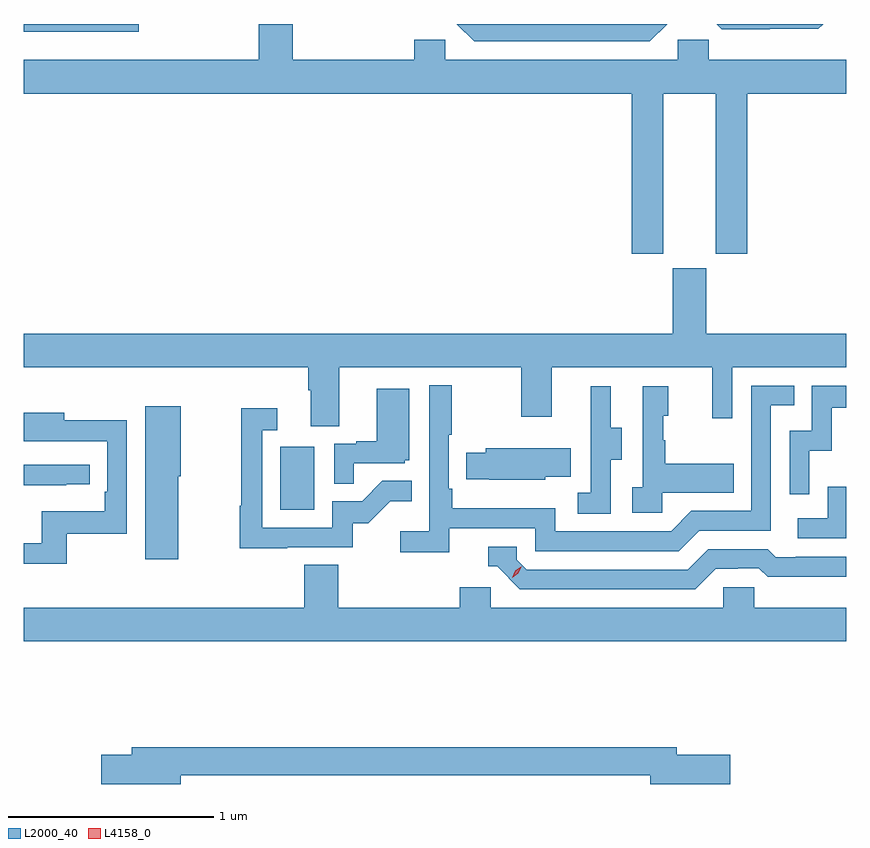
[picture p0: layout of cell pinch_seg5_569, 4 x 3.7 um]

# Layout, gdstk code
import gdstk
lib = gdstk.Library(unit=1e-6, precision=1e-09)
def R(c, l, rs):  # rectangles x0, y0, x1, y1
    for r in rs: c.add(gdstk.rectangle(r[:2], r[2:], *l))
def P(c, l, *ps):  # polygons
    for p in ps: c.add(gdstk.Polygon(p, *l))
L2000_40 = (2000, 40)
L4158_0 = (4158, 0)

pinch_seg5_569 = lib.new_cell('pinch_seg5_569')
R(pinch_seg5_569, L2000_40, [(1085.288,866.724,1085.452,867.031), (1084.04,869.048,1084.6,869.086)])
P(pinch_seg5_569, L2000_40, [(1087.668,869.063),(1087.904,869.063),(1087.927,869.086),(1087.41,869.086),(1087.435,869.061),(1087.668,869.061)],
  [(1087.15,868.748),(1087.406,868.748),(1087.406,867.969),(1087.559,867.969),(1087.559,868.748),(1088.04,868.748),(1088.04,868.912),(1087.371,868.912),(1087.371,869.01),(1087.221,869.01),(1087.221,868.912),(1086.09,868.912),(1086.09,869.01),(1085.939,869.01),(1085.939,868.912),(1085.348,868.912),(1085.348,869.086),(1085.183,869.086),(1085.183,868.912),(1084.04,868.912),(1084.04,868.748),(1086.998,868.748),(1086.998,867.969),(1087.15,867.969)],
  [(1087.169,869.086),(1086.146,869.086),(1086.231,869.001),(1087.084,869.001)],
  [(1085.575,867.416),(1086.46,867.416),(1086.46,867.177),(1086.607,867.177),(1086.607,867.416),(1087.388,867.416),(1087.388,867.168),(1087.485,867.168),(1087.485,867.416),(1088.04,867.416),(1088.04,867.58),(1087.36,867.58),(1087.36,867.897),(1087.196,867.897),(1087.196,867.58),(1084.04,867.58),(1084.04,867.416),(1085.423,867.416),(1085.423,867.304),(1085.435,867.304),(1085.435,867.13),(1085.575,867.13)],
  [(1086.11,866.634),(1086.528,866.634),(1086.528,866.523),(1087.225,866.523),(1087.324,866.622),(1087.674,866.622),(1087.674,867.231),(1087.787,867.231),(1087.787,867.327),(1087.578,867.327),(1087.578,866.718),(1087.287,866.718),(1087.188,866.619),(1086.624,866.619),(1086.624,866.731),(1086.125,866.731),(1086.125,866.827),(1086.108,866.827),(1086.108,867.088),(1086.121,867.088),(1086.121,867.328),(1086.012,867.328),(1086.012,866.62),(1085.871,866.62),(1085.871,866.518),(1086.11,866.518)],
  [(1087.86,867.011),(1087.97,867.011),(1087.97,867.219),(1088.04,867.219),(1088.04,867.327),(1087.872,867.327),(1087.872,867.108),(1087.764,867.108),(1087.764,866.799),(1087.86,866.799)],
  [(1087.146,866.807),(1087.493,866.807),(1087.493,866.947),(1087.159,866.947),(1087.159,867.062),(1087.149,867.062),(1087.149,867.18),(1087.174,867.18),(1087.174,867.325),(1087.05,867.325),(1087.05,866.834),(1086.999,866.834),(1086.999,866.709),(1087.146,866.709)],
  [(1086.894,866.968),(1086.949,866.968),(1086.949,867.123),(1086.895,867.123),(1086.895,867.325),(1086.797,867.325),(1086.797,867.111),(1086.798,867.111),(1086.798,866.807),(1086.735,866.807),(1086.735,866.704),(1086.894,866.704)],
  [(1085.645,866.949),(1085.892,866.949),(1085.892,866.964),(1085.914,866.964),(1085.914,867.313),(1085.756,867.313),(1085.756,867.058),(1085.657,867.058),(1085.657,867.045),(1085.55,867.045),(1085.55,866.851),(1085.645,866.851)],
  [(1084.792,866.886),(1084.804,866.886),(1084.804,867.226),(1084.631,867.226),(1084.631,866.484),(1084.792,866.484)],
  [(1085.321,866.541),(1085.64,866.541),(1085.64,866.658),(1085.716,866.658),(1085.823,866.765),(1085.927,866.765),(1085.927,866.864),(1085.783,866.864),(1085.685,866.766),(1085.541,866.766),(1085.541,866.637),(1085.199,866.637),(1085.199,867.111),(1085.272,867.111),(1085.272,867.217),(1085.098,867.217),(1085.098,866.744),(1085.091,866.744),(1085.091,866.536),(1085.321,866.536)],
  [(1084.249,866.607),(1084.542,866.607),(1084.542,867.158),(1084.237,867.158),(1084.237,867.196),(1084.04,867.196),(1084.04,867.056),(1084.133,867.056),(1084.133,867.057),(1084.446,867.057),(1084.446,866.812),(1084.433,866.812),(1084.433,866.716),(1084.128,866.716),(1084.128,866.561),(1084.04,866.561),(1084.04,866.46),(1084.249,866.46)],
  [(1086.576,866.885),(1086.701,866.885),(1086.701,867.022),(1086.287,867.022),(1086.287,867),(1086.193,867),(1086.193,866.871),(1086.304,866.871),(1086.304,866.87),(1086.576,866.87)],
  [(1084.247,866.847),(1084.36,866.847),(1084.36,866.943),(1084.04,866.943),(1084.04,866.842),(1084.247,866.842)],
  [(1088.04,866.836),(1087.95,866.836),(1087.95,866.682),(1087.803,866.682),(1087.803,866.586),(1088.04,866.586)],
  [(1087.405,866.436),(1087.512,866.436),(1087.512,866.439),(1087.615,866.439),(1087.657,866.397),(1087.89,866.397),(1087.89,866.399),(1088.04,866.399),(1088.04,866.496),(1087.795,866.496),(1087.795,866.493),(1087.696,866.493),(1087.657,866.532),(1087.368,866.532),(1087.269,866.433),(1086.486,866.433),(1086.438,866.481),(1086.438,866.544),(1086.299,866.544),(1086.299,866.448),(1086.342,866.448),(1086.453,866.337),(1087.306,866.337)],
  [(1088.04,866.248),(1087.593,866.248),(1087.593,866.346),(1087.443,866.346),(1087.443,866.248),(1086.312,866.248),(1086.312,866.346),(1086.161,866.346),(1086.161,866.248),(1085.57,866.248),(1085.57,866.456),(1085.405,866.456),(1085.405,866.248),(1084.04,866.248),(1084.04,866.084),(1088.04,866.084)],
  [(1084.804,865.432),(1087.088,865.432),(1087.088,865.39),(1087.477,865.39),(1087.477,865.532),(1087.216,865.532),(1087.216,865.568),(1084.565,865.568),(1084.565,865.532),(1084.416,865.532),(1084.416,865.39),(1084.804,865.39)])
P(pinch_seg5_569, L4158_0, [(1086.415,866.393),(1086.415,866.393),(1086.431,866.427),(1086.461,866.448),(1086.462,866.448),(1086.462,866.448),(1086.446,866.414),(1086.415,866.393)])

lib.write_gds('pinch_seg5_569.gds')
